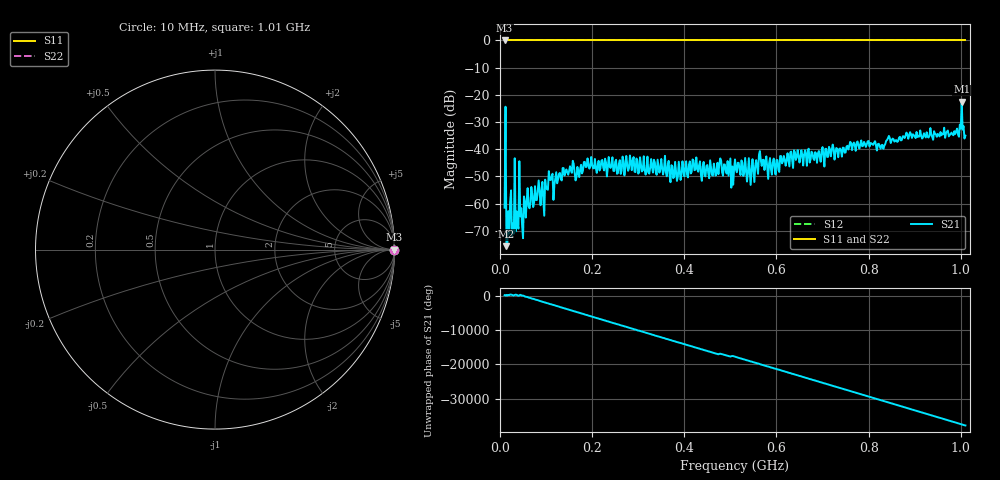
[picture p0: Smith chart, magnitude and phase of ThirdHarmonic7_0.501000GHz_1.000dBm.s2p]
! 8/17/2025 2:20:13 PM
! C:\ANRITSUVNA\TEMP\TEMP.S2P
! CHANNEL.1
! TR.MEASUREMENT
! RAW.DATA
! RF.CORRECTION.OFF
! AVERAGING.OFF
! IF.BANDWIDTH: 5KHZ
! SWEEPTYPE:  FREQ.SWEEP(Linear)
! Reference Plane Port Info
! PORT:  PORT1  PORT2
! DISTANCE:  0  m  0  m
! TIME:  0  s  0  s
! PHASE.OFFSET:  0  deg.  0  deg.
! LOSS:  0  dB  0  dB
! REF.LOSS:  0  dB  0  dB
! REF.FREQ:  0  Hz  0  Hz
! Power Info
! POWER:  -20  dBm  -20  dBm
! EFF.POWER:  -20  dBm  -20  dBm
! SOURCE.ATTEN:  0  dB  0  dB
! TEST.ATTEN:  0  dB  0  dB
# GHZ S RI R 50.0
! FREQ.GHZ  S11RE  S11IM  S21RE  S21IM  S12RE  S12IM  S22RE  S22IM
!; PortSelection: Port_12
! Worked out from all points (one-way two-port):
!   501 points, 10 MHz to 1.01 GHz, reference 50 ohm
!   highest |S21| = -22.51 dB at 1.002 GHz (marker M1); lowest = -75.6 dB at 14 MHz (marker M2)
!   lowest |S11| = 0.0 dB at 10 MHz (marker M3)
!   |S11| at or under -10 dB: nowhere
!   |S22| runs from 0.0 to 0.0 dB; largest |S21 - S12| = 1
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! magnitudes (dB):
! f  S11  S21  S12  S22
! 10 MHz  0.0  -61.5  0.0  0.0
! 14 MHz  0.0  -75.6  0.0  0.0
! 18 MHz  0.0  -62.8  0.0  0.0
! 28 MHz  0.0  -67.3  0.0  0.0
! 52 MHz  0.0  -57.3  0.0  0.0
! 56 MHz  0.0  -65.1  0.0  0.0
! 88 MHz  0.0  -60.6  0.0  0.0
! 92 MHz  0.0  -52.0  0.0  0.0
! 110 MHz  0.0  -51.3  0.0  0.0
! 120 MHz  0.0  -50.8  0.0  0.0
! 140 MHz  0.0  -49.7  0.0  0.0
! 178 MHz  0.0  -48.9  0.0  0.0
! 344 MHz  0.0  -46.4  0.0  0.0
! 510 MHz  0.0  -43.7  0.0  0.0
! 548 MHz  0.0  -43.7  0.0  0.0
! 566 MHz  0.0  -44.0  0.0  0.0
! 586 MHz  0.0  -43.2  0.0  0.0
! 678 MHz  0.0  -41.3  0.0  0.0
! 844 MHz  0.0  -35.1  0.0  0.0
! 978 MHz  0.0  -34.3  0.0  0.0
! 1.002 GHz  0.0  -22.5  0.0  0.0
! 1.01 GHz  0.0  -35.0  0.0  0.0
